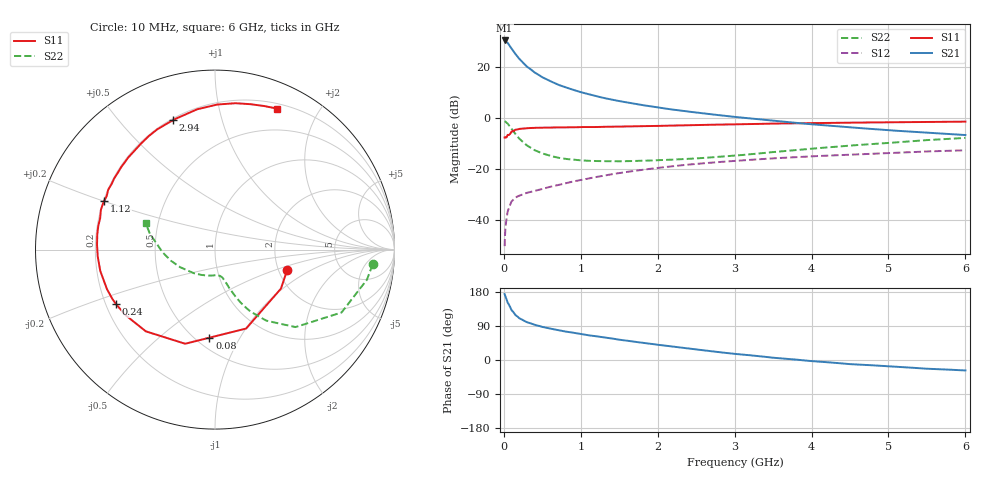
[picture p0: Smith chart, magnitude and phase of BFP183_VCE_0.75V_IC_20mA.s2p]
! Infineon Technologies  Discrete & RF Semiconductors
! BFP183
! VCE = 0.75V,  IC =  20 mA
! Common Emitter S-Parameters:  Jan 2016
# GHz  S  MA  R  50
!  f  S11  S21  S12  S22
! GHz  MAG  ANG  MAG  ANG  MAG  ANG  MAG  ANG
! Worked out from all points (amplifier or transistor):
!   210 points, 10 MHz to 6 GHz, reference 50 ohm
!   highest |S21| = 30.5 dB at 10 MHz (marker M1)
!   |S21| within 3 dB of that: start of sweep to 96.42 MHz
!   unconditionally stable (mu >= 1): 464.8 MHz to end of sweep
!   at 185 MHz: K = 0.53, MSG = 27.3 dB, |S12| = -30.6 dB
!   at 1.52 GHz: K = 1.44, MAG = 10.1 dB, |S12| = -21.4 dB
!   at 6 GHz: K = 1.20, MAG = 0.3 dB, |S12| = -12.6 dB
!   S11 on the Smith chart (normalised r, x): 10 MHz: 2.24, -0.60; 80 MHz: 0.58, -0.75; 240 MHz: 0.24, -0.24; 1.12 GHz: 0.20, +0.20; 2.94 GHz: 0.21, +0.71; 6 GHz: 0.25, +1.50
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0.01  0.4184 -15.4  33.59 173.9  0.0031 80.8  0.882 -5.4
0.02  0.4268 -30.7  33.24 168.1  0.0067 76.8  0.8631 -11.2
0.05  0.4728 -68.5  30.19 151.4  0.0148 67.6  0.7875 -26.4
0.08  0.4916 -93.6  25.73 140.7  0.0198 56.4  0.6805 -35.9
0.1  0.5502 -107.6  23.41 131.6  0.0234 51.7  0.6225 -43.9
0.15  0.5965 -130.2  18.24 118.7  0.0278 45.1  0.488 -54.2
0.2  0.6181 -143.8  14.71 110.4  0.0304 41.2  0.3994 -60.1
0.24  0.6291 -151.0  12.66 105.7  0.0319 40.5  0.3506 -62.9
0.3  0.6409 -159.8  10.32 99.8  0.0345 40.8  0.2929 -66.1
0.32  0.6413 -161.7  9.832 98.6  0.0351 41.0  0.2816 -66.6
0.4  0.6501 -169.4  7.919 92.6  0.0375 41.8  0.2369 -69.2
0.5  0.6545 -176.6  6.377 87.4  0.041 43.0  0.2044 -70.9
0.7  0.6613 172.7  4.582 78.9  0.0486 46.9  0.1688 -74.0
1.02  0.6733 160.1  3.192 68.0  0.0623 49.9  0.1489 -79.4
1.12  0.6744 156.5  2.916 64.8  0.067 49.9  0.146 -81.6
1.5  0.6874 144.9  2.172 53.6  0.0841 49.6  0.1432 -90.8
2.02  0.7089 130.0  1.609 39.7  0.1071 46.3  0.1511 -105.8
2.94  0.7576 108.0  1.089 17.6  0.1437 38.0  0.182 -136.6
3.1  0.7647 104.8  1.028 14.4  0.1494 36.5  0.1903 -141.9
4.1  0.8104 87.7  0.742 -4.3  0.1821 26.9  0.2605 -168.4
5.1  0.8359 75.1  0.57 -17.8  0.2097 18.6  0.3366 172.1
6  0.8585 66.2  0.469 -27.6  0.2353 9.7  0.4121 159.3
